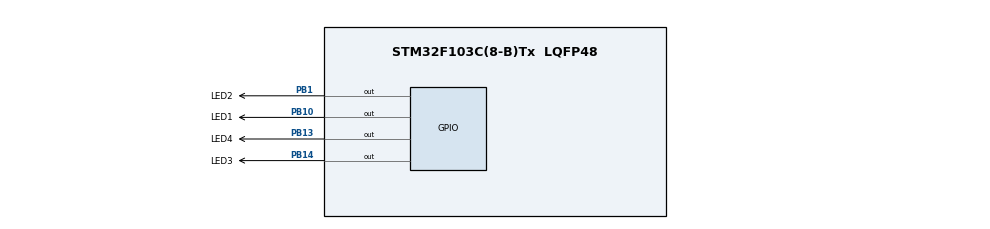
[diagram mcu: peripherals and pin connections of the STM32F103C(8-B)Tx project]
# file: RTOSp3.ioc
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FREERTOS.Tasks01=defaultTask,0,128,StartDefaultTask,Default,NULL,Dynamic,NULL,NULL;greenLedTask,0,128,green_led,Default,NULL,Dynamic,NULL,NULL;redLedTask,1,128,red_led,Default,NULL,Dynamic,NULL,NULL
Mcu.Family=STM32F1
Mcu.Name=STM32F103C(8-B)Tx
Mcu.Package=LQFP48
NVIC.PriorityGroup=NVIC_PRIORITYGROUP_4
PA13.Mode=Serial_Wire
PA13.Signal=SYS_JTMS-SWDIO
PA14.Mode=Serial_Wire
PA14.Signal=SYS_JTCK-SWCLK
PB1.GPIO_Label=LED2
PB1.Signal=GPIO_Output
PB10.GPIO_Label=LED1
PB10.Signal=GPIO_Output
PB13.GPIO_Label=LED4
PB13.Signal=GPIO_Output
PB14.GPIO_Label=LED3
PB14.Signal=GPIO_Output
ProjectManager.HeapSize=0x200
ProjectManager.StackSize=0x400
ProjectManager.TargetToolchain=STM32CubeIDE
RCC.APB1Freq_Value=8000000
RCC.APB2Freq_Value=8000000
VP_FREERTOS_VS_CMSIS_V1.Mode=CMSIS_V1
board=custom

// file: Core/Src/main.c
/* USER CODE BEGIN Header */
/**
  ******************************************************************************
  * @file           : main.c
  * @brief          : Main program body
  ******************************************************************************
  * @attention
  *
  * Copyright (c) 2024 STMicroelectronics.
  * All rights reserved.
  *
  * This software is licensed under terms that can be found in the LICENSE file
  * in the root directory of this software component.
  * If no LICENSE file comes with this software, it is provided AS-IS.
  *
  ******************************************************************************
  */
/* USER CODE END Header */
#include "main.h"
#include "cmsis_os.h"

osThreadId defaultTaskHandle;
osThreadId greenLedTaskHandle;
osThreadId redLedTaskHandle;

void SystemClock_Config(void);
static void MX_GPIO_Init(void);
void StartDefaultTask(void const * argument);
void green_led(void const * argument);
void red_led(void const * argument);

int main(void)
{

  /* MCU Configuration--------------------------------------------------------*/

  /* Reset of all peripherals, Initializes the Flash interface and the Systick. */
  HAL_Init();

  /* Configure the system clock */
  SystemClock_Config();

  /* Initialize all configured peripherals */
  MX_GPIO_Init();

  /* Create the thread(s) */
  /* definition and creation of defaultTask */
  osThreadDef(defaultTask, StartDefaultTask, osPriorityNormal, 0, 128);
  defaultTaskHandle = osThreadCreate(osThread(defaultTask), NULL);

  /* definition and creation of greenLedTask */
  osThreadDef(greenLedTask, green_led, osPriorityNormal, 0, 128);
  greenLedTaskHandle = osThreadCreate(osThread(greenLedTask), NULL);

  /* definition and creation of redLedTask */
  osThreadDef(redLedTask, red_led, osPriorityAboveNormal, 0, 128);
  redLedTaskHandle = osThreadCreate(osThread(redLedTask), NULL);

  /* Start scheduler */
  osKernelStart();

  /* We should never get here as control is now taken by the scheduler */

  /* Infinite loop */
  while (1)
  {

  }
}

void SystemClock_Config(void)
{
  RCC_OscInitTypeDef RCC_OscInitStruct = {0};
  RCC_ClkInitTypeDef RCC_ClkInitStruct = {0};

  /** Initializes the RCC Oscillators according to the specified parameters
  * in the RCC_OscInitTypeDef structure.
  */
  RCC_OscInitStruct.OscillatorType = RCC_OSCILLATORTYPE_HSI;
  RCC_OscInitStruct.HSIState = RCC_HSI_ON;
  RCC_OscInitStruct.HSICalibrationValue = RCC_HSICALIBRATION_DEFAULT;
  RCC_OscInitStruct.PLL.PLLState = RCC_PLL_NONE;
  if (HAL_RCC_OscConfig(&RCC_OscInitStruct) != HAL_OK)
  {
    Error_Handler();
  }

  /** Initializes the CPU, AHB and APB buses clocks
  */
  RCC_ClkInitStruct.ClockType = RCC_CLOCKTYPE_HCLK|RCC_CLOCKTYPE_SYSCLK
                              |RCC_CLOCKTYPE_PCLK1|RCC_CLOCKTYPE_PCLK2;
  RCC_ClkInitStruct.SYSCLKSource = RCC_SYSCLKSOURCE_HSI;
  RCC_ClkInitStruct.AHBCLKDivider = RCC_SYSCLK_DIV1;
  RCC_ClkInitStruct.APB1CLKDivider = RCC_HCLK_DIV1;
  RCC_ClkInitStruct.APB2CLKDivider = RCC_HCLK_DIV1;

  if (HAL_RCC_ClockConfig(&RCC_ClkInitStruct, FLASH_LATENCY_0) != HAL_OK)
  {
    Error_Handler();
  }
}

static void MX_GPIO_Init(void)
{
  GPIO_InitTypeDef GPIO_InitStruct = {0};

  /* GPIO Ports Clock Enable */
  __HAL_RCC_GPIOB_CLK_ENABLE();
  __HAL_RCC_GPIOA_CLK_ENABLE();

  /*Configure GPIO pin Output Level */
  HAL_GPIO_WritePin(GPIOB, LED2_Pin|LED1_Pin|LED4_Pin|LED3_Pin, GPIO_PIN_RESET);

  /*Configure GPIO pins : LED2_Pin LED1_Pin LED4_Pin LED3_Pin */
  GPIO_InitStruct.Pin = LED2_Pin|LED1_Pin|LED4_Pin|LED3_Pin;
  GPIO_InitStruct.Mode = GPIO_MODE_OUTPUT_PP;
  GPIO_InitStruct.Pull = GPIO_NOPULL;
  GPIO_InitStruct.Speed = GPIO_SPEED_FREQ_LOW;
  HAL_GPIO_Init(GPIOB, &GPIO_InitStruct);

}

void StartDefaultTask(void const * argument)
{
  for(;;)
  {
    osDelay(1);
  }
}

void green_led(void const * argument)
{
  /* USER CODE BEGIN green_led */
  /* Infinite loop */
  for(;;)
  {
	  HAL_GPIO_WritePin(LED1_GPIO_Port, LED1_Pin, 1);
	  HAL_GPIO_WritePin(LED2_GPIO_Port, LED2_Pin, 0);
	  for (int var = 0; var < 80; ++var) {
		  HAL_GPIO_TogglePin(LED2_GPIO_Port, LED2_Pin);
		  HAL_Delay(25);
		  HAL_GPIO_TogglePin(LED2_GPIO_Port, LED2_Pin);
		  HAL_Delay(25);
	  }
	  HAL_GPIO_WritePin(LED1_GPIO_Port, LED1_Pin, 0);
	  osDelay(6000);
  }
  /* USER CODE END green_led */
}

void red_led(void const * argument)
{
  /* USER CODE BEGIN red_led */
  /* Infinite loop */
  for(;;)
  {
	  HAL_GPIO_WritePin(LED3_GPIO_Port, LED3_Pin, 1);
	  HAL_GPIO_WritePin(LED4_GPIO_Port, LED4_Pin, 0);
	  for (int var = 0; var < 10; ++var) {
		  HAL_GPIO_TogglePin(LED4_GPIO_Port, LED4_Pin);
		  HAL_Delay(25);
		  HAL_GPIO_TogglePin(LED4_GPIO_Port, LED4_Pin);
		  HAL_Delay(25);
	  }
	  HAL_GPIO_WritePin(LED3_GPIO_Port, LED3_Pin, 0);
	  osDelay(1500);
  }
  /* USER CODE END red_led */
}

void Error_Handler(void)
{
  __disable_irq();
  while (1)
  {
  }
}
